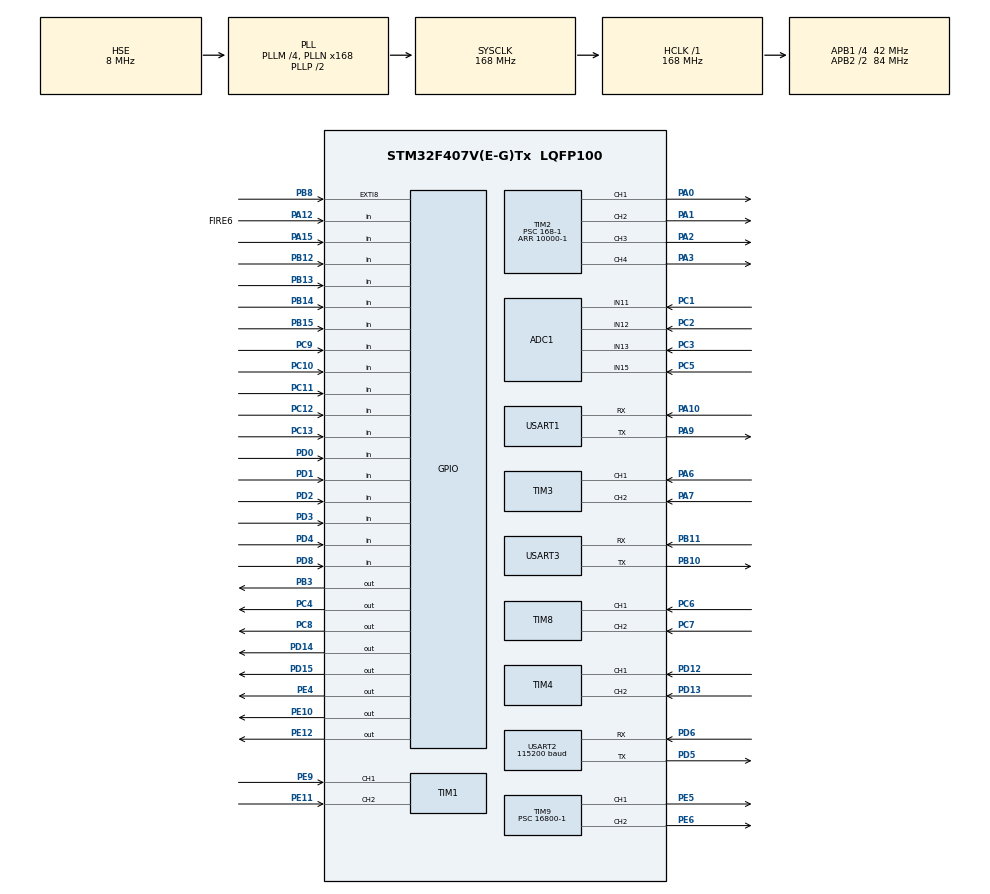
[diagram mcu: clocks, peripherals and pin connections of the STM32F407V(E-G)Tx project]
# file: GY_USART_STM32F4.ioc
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ADC1.Channel-0\#ChannelRegularConversion=ADC_CHANNEL_15
ADC1.NbrOfConversionFlag=1
ADC1.Rank-0\#ChannelRegularConversion=1
ADC1.SamplingTime-0\#ChannelRegularConversion=ADC_SAMPLETIME_3CYCLES
ADC1.master=1
Mcu.Family=STM32F4
Mcu.Name=STM32F407V(E-G)Tx
Mcu.Package=LQFP100
NVIC.ADC_IRQn=true\:0\:0\:false\:false\:true\:true\:true\:true
NVIC.PriorityGroup=NVIC_PRIORITYGROUP_4
NVIC.TIM6_DAC_IRQn=true\:1\:0\:true\:false\:true\:true\:true\:true
NVIC.TIM7_IRQn=true\:0\:0\:false\:false\:true\:true\:true\:true
NVIC.USART2_IRQn=true\:0\:0\:false\:false\:true\:true\:true\:true
PA0-WKUP.Signal=S_TIM2_CH1_ETR
PA1.Signal=S_TIM2_CH2
PA10.Mode=Asynchronous
PA10.Signal=USART1_RX
PA12.GPIO_Label=FIRE6
PA12.Signal=GPIO_Input
PA13.Mode=Serial_Wire
PA13.Signal=SYS_JTMS-SWDIO
PA14.Mode=Serial_Wire
PA14.Signal=SYS_JTCK-SWCLK
PA15.Signal=GPIO_Input
PA2.Signal=S_TIM2_CH3
PA3.Signal=S_TIM2_CH4
PA6.Signal=S_TIM3_CH1
PA7.Signal=S_TIM3_CH2
PA9.Mode=Asynchronous
PA9.Signal=USART1_TX
PB10.Mode=Asynchronous
PB10.Signal=USART3_TX
PB11.Mode=Asynchronous
PB11.Signal=USART3_RX
PB12.Signal=GPIO_Input
PB13.Signal=GPIO_Input
PB14.Signal=GPIO_Input
PB15.Signal=GPIO_Input
PB3.Signal=GPIO_Output
PB8.Signal=GPXTI8
PC1.Signal=ADCx_IN11
PC10.Signal=GPIO_Input
PC11.Signal=GPIO_Input
PC12.Signal=GPIO_Input
PC13-ANTI_TAMP.Signal=GPIO_Input
PC2.Signal=ADCx_IN12
PC3.Signal=ADCx_IN13
PC4.Signal=GPIO_Output
PC5.Signal=ADCx_IN15
PC6.Signal=S_TIM8_CH1
PC7.Signal=S_TIM8_CH2
PC8.Signal=GPIO_Output
PC9.Signal=GPIO_Input
PD0.Signal=GPIO_Input
PD1.Signal=GPIO_Input
PD12.Signal=S_TIM4_CH1
PD13.Signal=S_TIM4_CH2
PD14.Signal=GPIO_Output
PD15.Signal=GPIO_Output
PD2.Signal=GPIO_Input
PD3.Signal=GPIO_Input
PD4.Signal=GPIO_Input
PD5.Mode=Asynchronous
PD5.Signal=USART2_TX
PD6.Mode=Asynchronous
PD6.Signal=USART2_RX
PD8.Signal=GPIO_Input
PE10.Signal=GPIO_Output
PE11.Signal=S_TIM1_CH2
PE12.Signal=GPIO_Output
PE4.Signal=GPIO_Output
PE5.Signal=S_TIM9_CH1
PE6.Signal=S_TIM9_CH2
PE9.Signal=S_TIM1_CH1
PH0-OSC_IN.Mode=HSE-External-Oscillator
PH0-OSC_IN.Signal=RCC_OSC_IN
PH1-OSC_OUT.Mode=HSE-External-Oscillator
PH1-OSC_OUT.Signal=RCC_OSC_OUT
ProjectManager.HeapSize=0x200
ProjectManager.StackSize=0x400
ProjectManager.TargetToolchain=MDK-ARM V5
RCC.48MHZClocksFreq_Value=84000000
RCC.AHBFreq_Value=168000000
RCC.APB1CLKDivider=RCC_HCLK_DIV4
RCC.APB1Freq_Value=42000000
RCC.APB1TimFreq_Value=84000000
RCC.APB2CLKDivider=RCC_HCLK_DIV2
RCC.APB2Freq_Value=84000000
RCC.APB2TimFreq_Value=168000000
RCC.CortexFreq_Value=168000000
RCC.HCLKFreq_Value=168000000
RCC.HSE_VALUE=8000000
RCC.HSI_VALUE=16000000
RCC.LSE_VALUE=32768
RCC.PLLM=4
RCC.PLLN=168
RCC.PLLSourceVirtual=RCC_PLLSOURCE_HSE
RCC.SYSCLKFreq_VALUE=168000000
RCC.SYSCLKSource=RCC_SYSCLKSOURCE_PLLCLK
RCC.VCOOutputFreq_Value=336000000
SH.ADCx_IN11.0=ADC1_IN11,IN11
SH.ADCx_IN12.0=ADC1_IN12,IN12
SH.ADCx_IN13.0=ADC1_IN13,IN13
SH.ADCx_IN15.0=ADC1_IN15,IN15
SH.S_TIM1_CH1.0=TIM1_CH1,Encoder_Interface
SH.S_TIM1_CH2.0=TIM1_CH2,Encoder_Interface
SH.S_TIM2_CH1_ETR.0=TIM2_CH1,PWM Generation1 CH1
SH.S_TIM2_CH2.0=TIM2_CH2,PWM Generation2 CH2
SH.S_TIM2_CH3.0=TIM2_CH3,PWM Generation3 CH3
SH.S_TIM2_CH4.0=TIM2_CH4,PWM Generation4 CH4
SH.S_TIM3_CH1.0=TIM3_CH1,Encoder_Interface
SH.S_TIM3_CH2.0=TIM3_CH2,Encoder_Interface
SH.S_TIM4_CH1.0=TIM4_CH1,Encoder_Interface
SH.S_TIM4_CH2.0=TIM4_CH2,Encoder_Interface
SH.S_TIM8_CH1.0=TIM8_CH1,Encoder_Interface
SH.S_TIM8_CH2.0=TIM8_CH2,Encoder_Interface
SH.S_TIM9_CH1.0=TIM9_CH1,PWM Generation1 CH1
SH.S_TIM9_CH2.0=TIM9_CH2,PWM Generation2 CH2
TIM2.Channel-PWM\ Generation1\ CH1=TIM_CHANNEL_1
TIM2.Channel-PWM\ Generation2\ CH2=TIM_CHANNEL_2
TIM2.Channel-PWM\ Generation3\ CH3=TIM_CHANNEL_3
TIM2.Channel-PWM\ Generation4\ CH4=TIM_CHANNEL_4
TIM2.Period=10000-1
TIM2.Prescaler=168-1
TIM6.Period=100-1
TIM6.Prescaler=168-1
TIM7.Period=1000-1
TIM7.Prescaler=168-1
TIM9.Channel-PWM\ Generation1\ CH1=TIM_CHANNEL_1
TIM9.Channel-PWM\ Generation2\ CH2=TIM_CHANNEL_2
TIM9.Period=200-1
TIM9.Prescaler=16800-1
USART1.VirtualMode=VM_ASYNC
USART2.BaudRate=115200
USART2.VirtualMode=VM_ASYNC
USART3.VirtualMode=VM_ASYNC
VP_TIM2_VS_ClockSourceINT.Mode=Internal
VP_TIM6_VS_ClockSourceINT.Mode=Enable_Timer
VP_TIM7_VS_ClockSourceINT.Mode=Enable_Timer
VP_TIM9_VS_ClockSourceINT.Mode=Internal
board=GY_USART_STM32F4

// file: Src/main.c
/* USER CODE BEGIN Header */
/**
  ******************************************************************************
  * @file           : main.c
  * @brief          : Main program body
  ******************************************************************************
  * @attention
  *
  * Copyright (c) 2024 STMicroelectronics.
  * All rights reserved.
  *
  * This software is licensed under terms that can be found in the LICENSE file
  * in the root directory of this software component.
  * If no LICENSE file comes with this software, it is provided AS-IS.
  *
  ******************************************************************************
  */
/* USER CODE END Header */
#include "main.h"
#include "adc.h"
#include "tim.h"
#include "usart.h"
#include "gpio.h"

/* USER CODE BEGIN Includes */
#include "stdio.h"
#include "ITR.h"
#include "KEY.h"
#include "PID.h"
#include "bsp.h"
#include "motor.h"
#include "RX.h"
#include "action.h"
#include "struct.h"
#include "oled.h"
#include "string.h"

/* USER CODE END Includes */

/* USER CODE BEGIN PTD */
extern uint8_t OPenMv_RX_Flag,This_Id;
extern float Error;
extern uint8_t Count_2ms,Count_5ms,Count_8ms,time;
extern float k1,k2,k3,k4;
extern int16_t set_speed[4];
extern uint8_t USART_RX_BUF[5];
extern u8 flagss;
/* USER CODE END PTD */

/* USER CODE BEGIN PV */
/* Private variables ---------------------------------------------------------*/

/* USER CODE END PV */

void SystemClock_Config(void);
/* USER CODE BEGIN PFP */
/* Private function prototypes -----------------------------------------------*/

/* USER CODE END PFP */

/* USER CODE BEGIN 0 */

int fputc(int ch,FILE *f)
{
    uint8_t temp[1]= {ch};
    HAL_UART_Transmit(&huart2,temp,1,2);
}

/*
Keil: MDK5.25.2.0
MCU:sstm32f407ve
硬件接法：
usart2_rx-----mlx90640_tx
usart1_tx-----ft232_rx
*/
/* USER CODE END 0 */

int main(void)
{

  /* MCU Configuration--------------------------------------------------------*/

  /* Reset of all peripherals, Initializes the Flash interface and the Systick. */
  HAL_Init();

  /* Configure the system clock */
  SystemClock_Config();

  /* Initialize all configured peripherals */
  MX_GPIO_Init();
  MX_USART1_UART_Init();
  MX_USART2_UART_Init();
  MX_USART3_UART_Init();
  MX_TIM1_Init();
  MX_TIM2_Init();
  MX_TIM3_Init();
  MX_TIM4_Init();
  MX_TIM6_Init();
  MX_TIM7_Init();
  MX_TIM8_Init();
  MX_TIM9_Init();
  MX_ADC1_Init();
  /* USER CODE BEGIN 2 */
  HAL_UART_Receive_IT(&huart2 , (uint8_t *)USART_RX_BUF, 8);
	bsp();
//打印当前和目标转速

//	o=1;
//				motor_right(6000);
//				HAL_Delay(230);
  /* USER CODE END 2 */

  /* Infinite loop */
  /* USER CODE BEGIN WHILE */
    while (1)
    {
//			motor_back(0);
//				if(itr_10 == Y_target)
//					motor_back(2000);
//				else
//					motor_
		if(itr_8 == Y_target && itr_9 == Y_target&&flagss==0)
	{
		start();
		flagss=1;
	}
	if(flagss==1)
	{
//   motor_forward(3000);
    /* USER CODE END WHILE */

    /* USER CODE BEGIN 3 */
		if(Count_2ms>=10)
		{
			Count_2ms = 0;
			if( ( itr_11 == N_target )|| (itr_1 == N_target && itr_2 == N_target))
			LOOP_goup();
		}
		if(itr_11 == Y_target)
		{
			if(Count_5ms>=5)
			{
				LOOP_edge();
			}
			if(Count_8ms>=10)
			{
				Count_8ms=0;
				if( itr_1 == Y_target && itr_2 == Y_target && itr_3 == Y_target && itr_4 == Y_target )
				LOOP_openmv();
			}
		}
  }
}
  /* USER CODE END 3 */
}

void SystemClock_Config(void)
{
  RCC_OscInitTypeDef RCC_OscInitStruct = {0};
  RCC_ClkInitTypeDef RCC_ClkInitStruct = {0};

  /** Configure the main internal regulator output voltage
  */
  __HAL_RCC_PWR_CLK_ENABLE();
  __HAL_PWR_VOLTAGESCALING_CONFIG(PWR_REGULATOR_VOLTAGE_SCALE1);

  /** Initializes the RCC Oscillators according to the specified parameters
  * in the RCC_OscInitTypeDef structure.
  */
  RCC_OscInitStruct.OscillatorType = RCC_OSCILLATORTYPE_HSE;
  RCC_OscInitStruct.HSEState = RCC_HSE_ON;
  RCC_OscInitStruct.PLL.PLLState = RCC_PLL_ON;
  RCC_OscInitStruct.PLL.PLLSource = RCC_PLLSOURCE_HSE;
  RCC_OscInitStruct.PLL.PLLM = 4;
  RCC_OscInitStruct.PLL.PLLN = 168;
  RCC_OscInitStruct.PLL.PLLP = RCC_PLLP_DIV2;
  RCC_OscInitStruct.PLL.PLLQ = 4;
  if (HAL_RCC_OscConfig(&RCC_OscInitStruct) != HAL_OK)
  {
    Error_Handler();
  }

  /** Initializes the CPU, AHB and APB buses clocks
  */
  RCC_ClkInitStruct.ClockType = RCC_CLOCKTYPE_HCLK|RCC_CLOCKTYPE_SYSCLK
                              |RCC_CLOCKTYPE_PCLK1|RCC_CLOCKTYPE_PCLK2;
  RCC_ClkInitStruct.SYSCLKSource = RCC_SYSCLKSOURCE_PLLCLK;
  RCC_ClkInitStruct.AHBCLKDivider = RCC_SYSCLK_DIV1;
  RCC_ClkInitStruct.APB1CLKDivider = RCC_HCLK_DIV4;
  RCC_ClkInitStruct.APB2CLKDivider = RCC_HCLK_DIV2;

  if (HAL_RCC_ClockConfig(&RCC_ClkInitStruct, FLASH_LATENCY_5) != HAL_OK)
  {
    Error_Handler();
  }
}

void Error_Handler(void)
{
    while(1)
    {
    }
}
